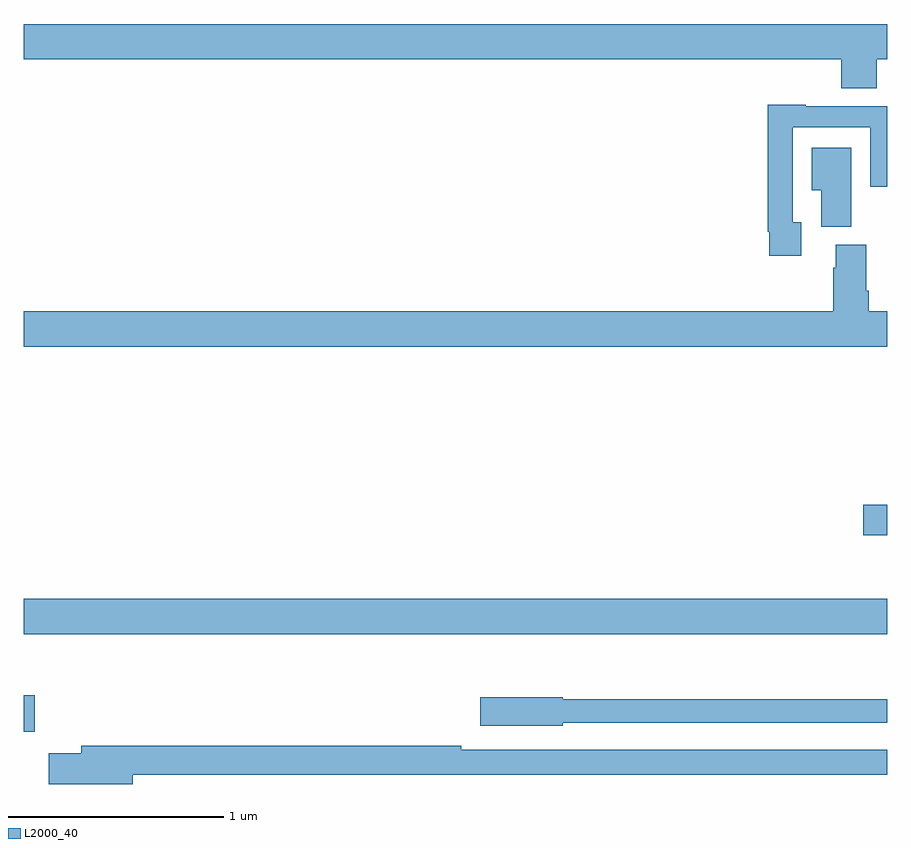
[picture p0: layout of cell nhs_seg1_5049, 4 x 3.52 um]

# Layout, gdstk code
import gdstk
lib = gdstk.Library(unit=1e-6, precision=1e-09)
def R(c, l, rs):  # rectangles x0, y0, x1, y1
    for r in rs: c.add(gdstk.rectangle(r[:2], r[2:], *l))
def P(c, l, *ps):  # polygons
    for p in ps: c.add(gdstk.Polygon(p, *l))
L2000_40 = (2000, 40)

nhs_seg1_5049 = lib.new_cell('nhs_seg1_5049')
R(nhs_seg1_5049, L2000_40, [(385,528.635,385.051,528.805), (385,529.088,389,529.252), (388.89,529.546,389,529.688)])
P(nhs_seg1_5049, L2000_40, [(388.952,531.752),(389,531.752),(389,531.916),(385,531.916),(385,531.752),(388.787,531.752),(388.787,531.619),(388.952,531.619)],
  [(388.603,530.997),(388.563,530.997),(388.563,531.438),(388.923,531.438),(388.923,531.162),(389,531.162),(389,531.534),(388.623,531.534),(388.623,531.541),(388.447,531.541),(388.447,530.953),(388.455,530.953),(388.455,530.841),(388.603,530.841)],
  [(388.834,531.343),(388.652,531.343),(388.652,531.146),(388.694,531.146),(388.694,530.977),(388.834,530.977)],
  [(389,530.584),(388.916,530.584),(388.916,530.68),(388.903,530.68),(388.903,530.892),(388.763,530.892),(388.763,530.786),(388.751,530.786),(388.751,530.584),(385,530.584),(385,530.42),(389,530.42)],
  [(387.498,528.678),(389,528.678),(389,528.787),(387.498,528.787),(387.498,528.795),(387.114,528.795),(387.114,528.665),(387.498,528.665)],
  [(385.504,528.436),(389,528.436),(389,528.552),(387.026,528.552),(387.026,528.572),(385.265,528.572),(385.265,528.536),(385.116,528.536),(385.116,528.394),(385.504,528.394)])

lib.write_gds('nhs_seg1_5049.gds')
